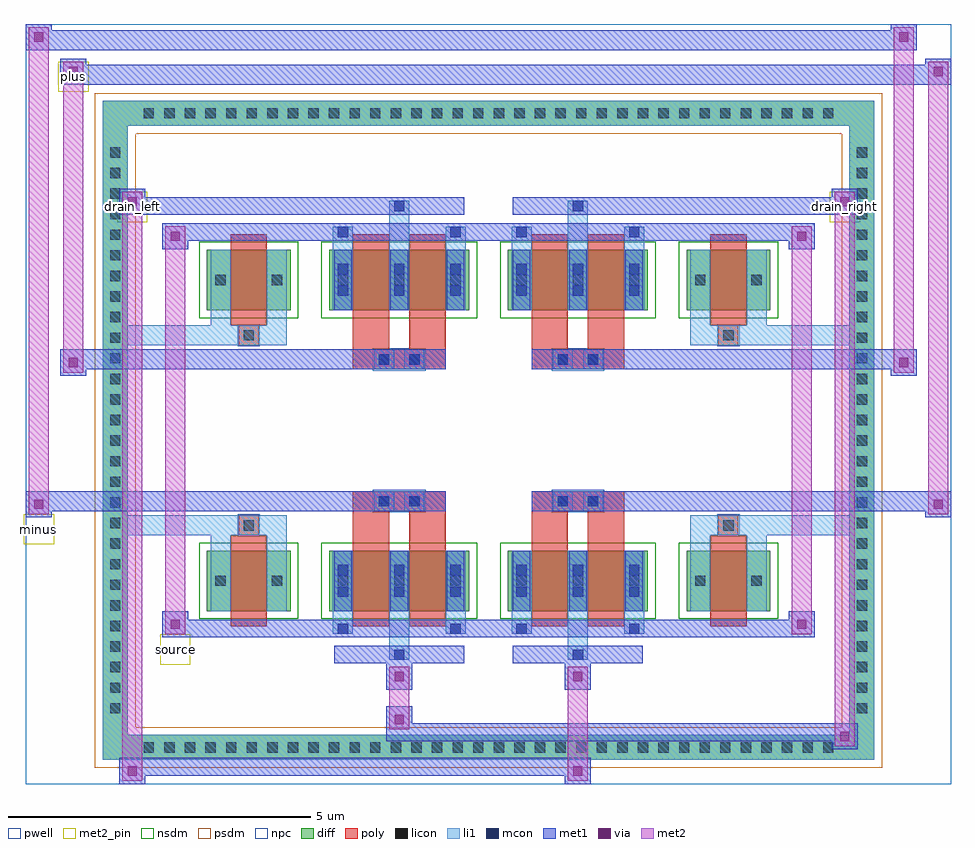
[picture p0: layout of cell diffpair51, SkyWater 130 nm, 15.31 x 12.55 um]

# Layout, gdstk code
import gdstk
lib = gdstk.Library(unit=1e-6, precision=5e-09)
def R(c, l, rs):  # rectangles x0, y0, x1, y1
    for r in rs: c.add(gdstk.rectangle(r[:2], r[2:], *l))
def A(c, l, x, y, w, h, nx, ny, dx, dy):  # array of equal rectangles
    R(c, l, [(x+i*dx, y+j*dy, x+i*dx+w, y+j*dy+h) for i in range(nx) for j in range(ny)])
def P(c, l, *ps):  # polygons
    for p in ps: c.add(gdstk.Polygon(p, *l))
pwell = (64, 44)
diff = (65, 20)
poly = (66, 20)
licon = (66, 44)
li1 = (67, 20)
mcon = (67, 44)
met1 = (68, 20)
via = (68, 44)
met2_pin = (69, 16)
met2 = (69, 20)
nsdm = (93, 44)
psdm = (94, 20)
npc = (95, 20)

diffpair51 = lib.new_cell('diffpair51')
R(diffpair51, pwell, [(-7.64,-5.84,7.64,6.71), (-4.96,-4.03,-0.01,-0.805), (0.01,-4.03,4.96,-0.805), (-4.96,0.805,-0.01,4.03), (0.01,0.805,4.96,4.03)])
A(diffpair51, diff, -5.815, -5.44, 0.41, 0.41, 34, 2, 0.34, 10.47)
A(diffpair51, diff, -6.37, -4.795, 0.41, 0.41, 1, 28, 0, 0.34)
A(diffpair51, diff, 5.96, -4.795, 0.41, 0.41, 1, 28, 0, 0.34)
R(diffpair51, diff, [(-5.815,-5.44,5.815,-5.03), (-6.37,-4.795,-5.96,4.795), (5.96,-4.795,6.37,4.795), (-4.65,-2.985,-3.27,-1.985), (-2.63,-2.985,-0.32,-1.985), (0.32,-2.985,2.63,-1.985), (3.27,-2.985,4.65,-1.985), (-4.65,1.985,-3.27,2.985), (-2.63,1.985,-0.32,2.985), (0.32,1.985,2.63,2.985), (3.27,1.985,4.65,2.985), (-5.815,5.03,5.815,5.44)])
P(diffpair51, diff, [(6.37,5.44),(-6.37,5.44),(-6.37,-5.03),(-5.96,-5.03),(-5.96,5.03),(5.96,5.03),(5.96,-5.03),(-5.96,-5.03),(-6.37,-5.03),(-6.37,-5.44),(6.37,-5.44)])
R(diffpair51, poly, [(-4.26,-3.235,-3.66,-1.735), (-2.24,-3.235,-1.64,-1.735), (-1.31,-3.235,-0.71,-1.735), (0.71,-3.235,1.31,-1.735), (1.64,-3.235,2.24,-1.735), (3.66,-3.235,4.26,-1.735), (-4.125,-1.735,-3.795,-1.405), (-4.125,-1.735,-3.795,-1.405), (-2.24,-1.735,-1.64,-1.335), (-1.31,-1.735,-0.71,-1.335), (0.71,-1.735,1.31,-1.335), (1.64,-1.735,2.24,-1.335), (3.795,-1.735,4.125,-1.405), (3.795,-1.735,4.125,-1.405), (-2.24,-1.335,-0.71,-1.005), (-1.89,-1.335,-1.56,-1.005), (-1.39,-1.335,-1.06,-1.005), (0.71,-1.335,2.24,-1.005), (1.06,-1.335,1.39,-1.005), (1.56,-1.335,1.89,-1.005), (-2.24,1.005,-0.71,1.335), (-1.89,1.005,-1.56,1.335), (-1.39,1.005,-1.06,1.335), (0.71,1.005,2.24,1.335), (1.06,1.005,1.39,1.335), (1.56,1.005,1.89,1.335), (-2.24,1.335,-1.64,1.735), (-1.31,1.335,-0.71,1.735), (0.71,1.335,1.31,1.735), (1.64,1.335,2.24,1.735), (-4.125,1.405,-3.795,1.735), (-4.125,1.405,-3.795,1.735), (3.795,1.405,4.125,1.735), (3.795,1.405,4.125,1.735), (-4.26,1.735,-3.66,3.235), (-2.24,1.735,-1.64,3.235), (-1.31,1.735,-0.71,3.235), (0.71,1.735,1.31,3.235), (1.64,1.735,2.24,3.235), (3.66,1.735,4.26,3.235)])
A(diffpair51, licon, -5.695, -5.32, 0.17, 0.17, 34, 2, 0.34, 10.47)
A(diffpair51, licon, -6.25, -4.675, 0.17, 0.17, 1, 28, 0, 0.34)
A(diffpair51, licon, 6.08, -4.675, 0.17, 0.17, 1, 28, 0, 0.34)
A(diffpair51, licon, -2.49, -2.57, 0.17, 0.17, 3, 2, 0.93, 4.97)
A(diffpair51, licon, 0.46, -2.57, 0.17, 0.17, 3, 2, 0.93, 4.97)
R(diffpair51, licon, [(-4.51,-2.57,-4.34,-2.4), (-3.58,-2.57,-3.41,-2.4), (3.41,-2.57,3.58,-2.4), (4.34,-2.57,4.51,-2.4), (-4.045,-1.655,-3.875,-1.485), (3.875,-1.655,4.045,-1.485), (-1.81,-1.255,-1.64,-1.085), (-1.31,-1.255,-1.14,-1.085), (1.14,-1.255,1.31,-1.085), (1.64,-1.255,1.81,-1.085), (-1.81,1.085,-1.64,1.255), (-1.31,1.085,-1.14,1.255), (1.14,1.085,1.31,1.255), (1.64,1.085,1.81,1.255), (-4.045,1.485,-3.875,1.655), (3.875,1.485,4.045,1.655), (-4.51,2.4,-4.34,2.57), (-3.58,2.4,-3.41,2.57), (3.41,2.4,3.58,2.57), (4.34,2.4,4.51,2.57)])
A(diffpair51, li1, -5.775, -5.4, 0.33, 0.33, 34, 2, 0.34, 10.47)
A(diffpair51, li1, -6.33, -4.755, 0.33, 0.33, 1, 28, 0, 0.34)
A(diffpair51, li1, 6, -4.755, 0.33, 0.33, 1, 28, 0, 0.34)
A(diffpair51, li1, -2.57, -2.985, 0.33, 1, 3, 2, 0.93, 4.97)
A(diffpair51, li1, 0.38, -2.985, 0.33, 1, 3, 2, 0.93, 4.97)
A(diffpair51, li1, -2.49, -2.75, 0.17, 0.17, 3, 2, 0.93, 0.36)
A(diffpair51, li1, -2.49, -2.75, 0.17, 0.53, 3, 2, 0.93, 4.97)
A(diffpair51, li1, 0.46, -2.75, 0.17, 0.17, 3, 2, 0.93, 0.36)
A(diffpair51, li1, 0.46, -2.75, 0.17, 0.53, 3, 2, 0.93, 4.97)
A(diffpair51, li1, -2.57, -2.65, 0.33, 0.33, 3, 2, 0.93, 4.97)
A(diffpair51, li1, 0.38, -2.65, 0.33, 0.33, 3, 2, 0.93, 4.97)
A(diffpair51, li1, -2.49, 2.22, 0.17, 0.17, 3, 2, 0.93, 0.36)
A(diffpair51, li1, 0.46, 2.22, 0.17, 0.17, 3, 2, 0.93, 0.36)
R(diffpair51, li1, [(-6.37,-5.44,-5.96,-5.03), (-6.37,-5.44,-5.96,-5.03), (-5.96,-5.44,5.96,-5.03), (5.96,-5.44,6.37,-5.03), (5.96,-5.44,6.37,-5.03), (-6.37,-5.03,-5.96,5.03), (5.96,-5.03,6.37,5.03), (-1.64,-3.79,-1.31,-2.985), (-1.56,-3.79,-1.39,-3.62), (1.31,-3.79,1.64,-2.985), (1.39,-3.79,1.56,-3.62), (-2.57,-3.36,-2.24,-2.985), (-2.49,-3.36,-2.32,-3.19), (-0.71,-3.36,-0.38,-2.985), (-0.63,-3.36,-0.46,-3.19), (0.38,-3.36,0.71,-2.985), (0.46,-3.36,0.63,-3.19), (2.24,-3.36,2.57,-2.985), (2.32,-3.36,2.49,-3.19), (-4.59,-2.985,-4.26,-1.985), (-3.66,-2.985,-3.33,-1.985), (3.33,-2.985,3.66,-1.985), (4.26,-2.985,4.59,-1.985), (-4.59,-2.65,-4.26,-2.32), (-3.66,-2.65,-3.33,-2.32), (3.33,-2.65,3.66,-2.32), (4.26,-2.65,4.59,-2.32), (-4.59,-1.985,-4.26,-1.405), (-3.66,-1.985,-3.33,-1.405), (3.33,-1.985,3.66,-1.405), (4.26,-1.985,4.59,-1.405), (-6.37,-1.735,-4.125,-1.405), (-4.59,-1.735,-4.125,-1.405), (-4.125,-1.735,-3.795,-1.405), (-3.795,-1.735,-3.33,-1.405), (3.33,-1.735,3.795,-1.405), (3.795,-1.735,4.125,-1.405), (3.795,-1.735,6.37,-1.405), (4.125,-1.735,4.59,-1.405), (-1.89,-1.335,-1.56,-1.005), (-1.39,-1.335,-1.06,-1.005), (1.06,-1.335,1.39,-1.005), (1.56,-1.335,1.89,-1.005), (-1.89,1.005,-1.56,1.335), (-1.39,1.005,-1.06,1.335), (1.06,1.005,1.39,1.335), (1.56,1.005,1.89,1.335), (-6.37,1.405,-4.125,1.735), (-4.59,1.405,-4.125,1.735), (-4.59,1.405,-4.26,1.985), (-4.125,1.405,-3.795,1.735), (-3.795,1.405,-3.33,1.735), (-3.66,1.405,-3.33,1.985), (3.33,1.405,3.795,1.735), (3.33,1.405,3.66,1.985), (3.795,1.405,4.125,1.735), (3.795,1.405,6.37,1.735), (4.125,1.405,4.59,1.735), (4.26,1.405,4.59,1.985), (-4.59,1.985,-4.26,2.985), (-3.66,1.985,-3.33,2.985), (3.33,1.985,3.66,2.985), (4.26,1.985,4.59,2.985), (-4.59,2.32,-4.26,2.65), (-3.66,2.32,-3.33,2.65), (3.33,2.32,3.66,2.65), (4.26,2.32,4.59,2.65), (-2.57,2.985,-2.24,3.36), (-1.64,2.985,-1.31,3.79), (-0.71,2.985,-0.38,3.36), (0.38,2.985,0.71,3.36), (1.31,2.985,1.64,3.79), (2.24,2.985,2.57,3.36), (-2.49,3.19,-2.32,3.36), (-0.63,3.19,-0.46,3.36), (0.46,3.19,0.63,3.36), (2.32,3.19,2.49,3.36), (-1.56,3.62,-1.39,3.79), (1.39,3.62,1.56,3.79), (-6.37,5.03,-5.96,5.44), (-6.37,5.03,-5.96,5.44), (-5.96,5.03,5.96,5.44), (5.96,5.03,6.37,5.44), (5.96,5.03,6.37,5.44)])
A(diffpair51, mcon, -2.49, -2.75, 0.17, 0.17, 3, 2, 0.93, 0.36)
A(diffpair51, mcon, 0.46, -2.75, 0.17, 0.17, 3, 2, 0.93, 0.36)
A(diffpair51, mcon, -2.49, 2.22, 0.17, 0.17, 3, 2, 0.93, 0.36)
A(diffpair51, mcon, 0.46, 2.22, 0.17, 0.17, 3, 2, 0.93, 0.36)
R(diffpair51, mcon, [(-1.56,-3.79,-1.39,-3.62), (1.39,-3.79,1.56,-3.62), (-2.49,-3.36,-2.32,-3.19), (-0.63,-3.36,-0.46,-3.19), (0.46,-3.36,0.63,-3.19), (2.32,-3.36,2.49,-3.19), (-1.81,-1.255,-1.64,-1.085), (-1.31,-1.255,-1.14,-1.085), (1.14,-1.255,1.31,-1.085), (1.64,-1.255,1.81,-1.085), (-1.81,1.085,-1.64,1.255), (-1.31,1.085,-1.14,1.255), (1.14,1.085,1.31,1.255), (1.64,1.085,1.81,1.255), (-2.49,3.19,-2.32,3.36), (-0.63,3.19,-0.46,3.36), (0.46,3.19,0.63,3.36), (2.32,3.19,2.49,3.36), (-1.56,3.62,-1.39,3.79), (1.39,3.62,1.56,3.79)])
A(diffpair51, met1, -2.55, -2.985, 0.29, 1, 3, 2, 0.93, 4.97)
A(diffpair51, met1, 0.4, -2.985, 0.29, 1, 3, 2, 0.93, 4.97)
A(diffpair51, met1, -2.55, -2.81, 0.29, 0.29, 3, 2, 0.93, 0.36)
A(diffpair51, met1, 0.4, -2.81, 0.29, 0.29, 3, 2, 0.93, 0.36)
A(diffpair51, met1, -2.55, 2.16, 0.29, 0.29, 3, 2, 0.93, 0.36)
A(diffpair51, met1, 0.4, 2.16, 0.29, 0.29, 3, 2, 0.93, 0.36)
R(diffpair51, met1, [(-6.1,-5.84,-5.67,-5.41), (1.26,-5.84,1.69,-5.41), (-6.1,-5.7,1.69,-5.41), (5.67,-5.27,6.1,-4.84), (-1.69,-5.13,6.1,-4.84), (-1.69,-4.99,-1.26,-4.56), (-1.69,-4.28,-1.26,-3.85), (1.26,-4.28,1.69,-3.85), (-2.55,-3.85,-0.4,-3.56), (-1.62,-3.85,-1.33,-3.56), (0.4,-3.85,2.55,-3.56), (1.33,-3.85,1.62,-3.56), (-5.39,-3.42,-4.96,-2.99), (-5.39,-3.42,-2.55,-3.13), (-2.55,-3.42,-2.26,-3.13), (-2.55,-3.42,-0.4,-3.13), (-0.69,-3.42,-0.4,-3.13), (-0.4,-3.42,0.4,-3.13), (0.4,-3.42,0.69,-3.13), (0.4,-3.42,2.55,-3.13), (2.26,-3.42,2.55,-3.13), (2.55,-3.42,5.39,-3.13), (4.96,-3.42,5.39,-2.99), (-7.64,-1.435,-7.21,-1.005), (7.21,-1.435,7.64,-1.005), (-7.64,-1.335,-0.71,-1.005), (-2.24,-1.335,-0.71,-1.005), (0.71,-1.335,2.24,-1.005), (0.71,-1.335,7.64,-1.005), (-1.87,-1.315,-1.58,-1.025), (-1.37,-1.315,-1.08,-1.025), (1.08,-1.315,1.37,-1.025), (1.58,-1.315,1.87,-1.025), (-7.07,0.905,-6.64,1.335), (6.64,0.905,7.07,1.335), (-7.07,1.005,-2.24,1.335), (-2.24,1.005,-0.71,1.335), (0.71,1.005,2.24,1.335), (2.24,1.005,7.07,1.335), (-1.87,1.025,-1.58,1.315), (-1.37,1.025,-1.08,1.315), (1.08,1.025,1.37,1.315), (1.58,1.025,1.87,1.315), (-5.39,2.99,-4.96,3.42), (4.96,2.99,5.39,3.42), (-5.39,3.13,-2.55,3.42), (-2.55,3.13,-2.26,3.42), (-2.55,3.13,-0.4,3.42), (-0.69,3.13,-0.4,3.42), (-0.4,3.13,0.4,3.42), (0.4,3.13,0.69,3.42), (0.4,3.13,2.55,3.42), (2.26,3.13,2.55,3.42), (2.55,3.13,5.39,3.42), (-6.1,3.56,-5.67,3.99), (-6.1,3.56,-2.55,3.85), (-2.55,3.56,-0.4,3.85), (-1.62,3.56,-1.33,3.85), (0.4,3.56,2.55,3.85), (1.33,3.56,1.62,3.85), (2.55,3.56,6.1,3.85), (5.67,3.56,6.1,3.99), (-7.07,5.71,-6.64,6.14), (-7.07,5.71,-4.96,6.04), (-4.96,5.71,4.96,6.04), (4.96,5.71,7.64,6.04), (7.21,5.71,7.64,6.14), (-7.64,6.28,-7.21,6.71), (-7.64,6.28,-4.96,6.61), (-4.96,6.28,4.96,6.61), (4.96,6.28,7.07,6.61), (6.64,6.28,7.07,6.71)])
R(diffpair51, via, [(-5.96,-5.7,-5.81,-5.55), (1.4,-5.7,1.55,-5.55), (5.81,-5.13,5.96,-4.98), (-1.55,-4.85,-1.4,-4.7), (-1.55,-4.14,-1.4,-3.99), (1.4,-4.14,1.55,-3.99), (-5.25,-3.28,-5.1,-3.13), (5.1,-3.28,5.25,-3.13), (-7.5,-1.295,-7.35,-1.145), (7.35,-1.295,7.5,-1.145), (-6.93,1.045,-6.78,1.195), (6.78,1.045,6.93,1.195), (-5.25,3.13,-5.1,3.28), (5.1,3.13,5.25,3.28), (-5.96,3.7,-5.81,3.85), (5.81,3.7,5.96,3.85), (-6.93,5.85,-6.78,6), (7.35,5.85,7.5,6), (-7.5,6.42,-7.35,6.57), (6.78,6.42,6.93,6.57)])
R(diffpair51, met2_pin, [(-5.425,-3.87,-4.925,-3.37), (-7.675,-1.885,-7.175,-1.385), (-6.135,3.44,-5.635,3.94), (5.635,3.44,6.135,3.94), (-7.105,5.59,-6.605,6.09)])
R(diffpair51, met2, [(-6.05,-5.79,-5.72,-5.46), (-6.05,-5.79,-5.72,3.94), (1.31,-5.79,1.64,-5.46), (1.31,-5.46,1.64,-4.23), (5.72,-5.22,6.05,-4.89), (5.72,-5.22,6.05,3.94), (-1.64,-4.94,-1.31,-4.61), (-1.64,-4.61,-1.31,-4.23), (-1.64,-4.23,-1.31,-3.9), (1.31,-4.23,1.64,-3.9), (-5.34,-3.37,-5.01,-3.04), (-5.34,-3.37,-5.01,3.37), (5.01,-3.37,5.34,-3.04), (5.01,-3.37,5.34,3.37), (-7.59,-1.385,-7.26,-1.055), (-7.59,-1.385,-7.26,6.66), (7.26,-1.385,7.59,-1.055), (7.26,-1.385,7.59,6.09), (-7.02,0.955,-6.69,1.285), (-7.02,0.955,-6.69,6.09), (6.69,0.955,7.02,1.285), (6.69,0.955,7.02,6.66), (-5.34,3.04,-5.01,3.37), (5.01,3.04,5.34,3.37), (-6.05,3.61,-5.72,3.94), (5.72,3.61,6.05,3.94), (-7.02,5.76,-6.69,6.09), (7.26,5.76,7.59,6.09), (-7.59,6.33,-7.26,6.66), (6.69,6.33,7.02,6.66)])
P(diffpair51, met2, [(7.59,-1.385),(7.59,-1.385),(7.59,-1.055),(7.59,-1.055)],
  [(7.59,5.76),(7.59,5.76),(7.59,6.09),(7.59,6.09)],
  [(-7.26,-1.385),(-7.26,-1.385),(-7.26,-1.055),(-7.26,-1.055)],
  [(-7.26,6.33),(-7.26,6.33),(-7.26,6.66),(-7.26,6.66)],
  [(7.02,0.955),(7.02,0.955),(7.02,1.285),(7.02,1.285)],
  [(7.02,6.33),(7.02,6.33),(7.02,6.66),(7.02,6.66)],
  [(-6.69,0.955),(-6.69,0.955),(-6.69,1.285),(-6.69,1.285)],
  [(-6.69,5.76),(-6.69,5.76),(-6.69,6.09),(-6.69,6.09)],
  [(-5.72,-5.79),(-5.72,-5.79),(-5.72,-5.46),(-5.72,-5.46)],
  [(-5.72,3.61),(-5.72,3.61),(-5.72,3.94),(-5.72,3.94)],
  [(6.05,-5.22),(6.05,-5.22),(6.05,-4.89),(6.05,-4.89)],
  [(6.05,3.61),(6.05,3.61),(6.05,3.94),(6.05,3.94)],
  [(-5.01,-3.37),(-5.01,-3.37),(-5.01,-3.04),(-5.01,-3.04)],
  [(-5.01,3.04),(-5.01,3.04),(-5.01,3.37),(-5.01,3.37)],
  [(5.34,-3.37),(5.34,-3.37),(5.34,-3.04),(5.34,-3.04)],
  [(5.34,3.04),(5.34,3.04),(5.34,3.37),(5.34,3.37)])
R(diffpair51, nsdm, [(-4.78,-3.115,-3.14,-1.855), (-2.76,-3.115,-0.19,-1.855), (0.19,-3.115,2.76,-1.855), (3.14,-3.115,4.78,-1.855), (-4.78,1.855,-3.14,3.115), (-2.76,1.855,-0.19,3.115), (0.19,1.855,2.76,3.115), (3.14,1.855,4.78,3.115)])
P(diffpair51, psdm, [(6.5,5.57),(-6.5,5.57),(-6.5,-4.9),(-5.83,-4.9),(-5.83,4.9),(5.83,4.9),(5.83,-4.9),(-5.83,-4.9),(-6.5,-4.9),(-6.5,-5.57),(6.5,-5.57)])
R(diffpair51, npc, [(-4.145,-1.755,-3.775,-1.385), (3.775,-1.755,4.145,-1.385), (-1.91,-1.355,-1.54,-0.985), (-1.91,-1.355,-1.04,-0.985), (-1.91,-1.355,-1.04,-0.985), (-1.41,-1.355,-1.04,-0.985), (1.04,-1.355,1.41,-0.985), (1.04,-1.355,1.91,-0.985), (1.04,-1.355,1.91,-0.985), (1.54,-1.355,1.91,-0.985), (-1.91,0.985,-1.54,1.355), (-1.91,0.985,-1.04,1.355), (-1.91,0.985,-1.04,1.355), (-1.41,0.985,-1.04,1.355), (1.04,0.985,1.41,1.355), (1.04,0.985,1.91,1.355), (1.04,0.985,1.91,1.355), (1.54,0.985,1.91,1.355), (-4.145,1.385,-3.775,1.755), (3.775,1.385,4.145,1.755)])
diffpair51.add(gdstk.Label('minus', (-7.425,-1.635), layer=69, texttype=5))
diffpair51.add(gdstk.Label('drain_right', (5.885,3.69), layer=69, texttype=5))
diffpair51.add(gdstk.Label('drain_left', (-5.885,3.69), layer=69, texttype=5))
diffpair51.add(gdstk.Label('source', (-5.175,-3.62), layer=69, texttype=5))
diffpair51.add(gdstk.Label('plus', (-6.855,5.84), layer=69, texttype=5))

lib.write_gds('diffpair51.gds')
